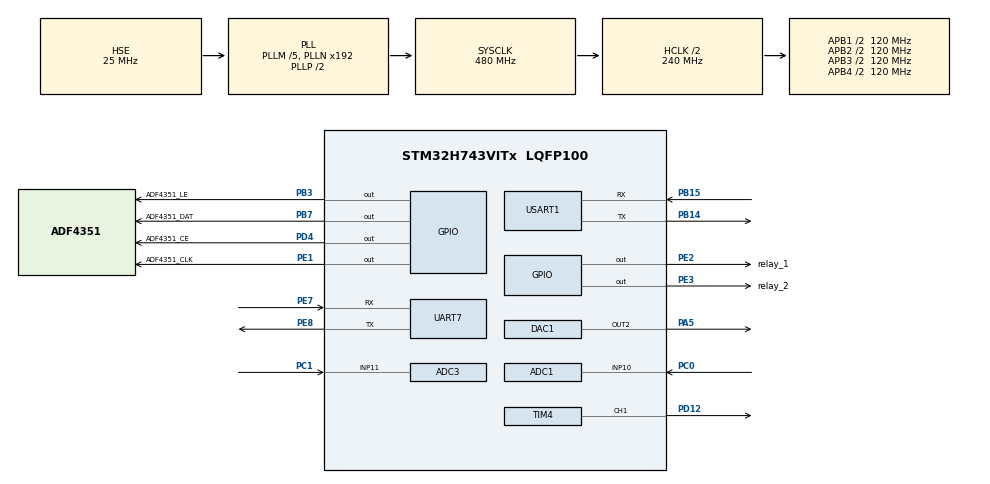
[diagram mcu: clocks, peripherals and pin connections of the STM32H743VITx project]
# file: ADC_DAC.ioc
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ADC1.Channel-1\#ChannelRegularConversion=ADC_CHANNEL_10
ADC1.ClockPrescaler=ADC_CLOCK_ASYNC_DIV1
ADC1.ConversionDataManagement=ADC_CONVERSIONDATA_DMA_CIRCULAR
ADC1.ExternalTrigConv=ADC_EXTERNALTRIG_T15_TRGO
ADC1.NbrOfConversion=1
ADC1.NbrOfConversionFlag=1
ADC1.OffsetNumber-1\#ChannelRegularConversion=ADC_OFFSET_NONE
ADC1.OffsetSignedSaturation-1\#ChannelRegularConversion=DISABLE
ADC1.OversamplingMode=ENABLE
ADC1.Rank-1\#ChannelRegularConversion=1
ADC1.Ratio=1024
ADC1.RightBitShift=ADC_RIGHTBITSHIFT_10
ADC1.SamplingTime-1\#ChannelRegularConversion=ADC_SAMPLETIME_810CYCLES_5
ADC1.master=1
ADC3.Channel-0\#ChannelRegularConversion=ADC_CHANNEL_11
ADC3.ConversionDataManagement=ADC_CONVERSIONDATA_DMA_CIRCULAR
ADC3.ExternalTrigConv=ADC_EXTERNALTRIG_T1_TRGO
ADC3.NbrOfConversionFlag=1
ADC3.OffsetNumber-0\#ChannelRegularConversion=ADC_OFFSET_NONE
ADC3.OffsetSignedSaturation-0\#ChannelRegularConversion=DISABLE
ADC3.Rank-0\#ChannelRegularConversion=1
ADC3.SamplingTime-0\#ChannelRegularConversion=ADC_SAMPLETIME_1CYCLE_5
CORTEX_M7.AccessPermission-Cortex_Memory_Protection_Unit_Region0_Settings=MPU_REGION_FULL_ACCESS
CORTEX_M7.AccessPermission-Cortex_Memory_Protection_Unit_Region1_Settings=MPU_REGION_FULL_ACCESS
CORTEX_M7.AccessPermission-Cortex_Memory_Protection_Unit_Region2_Settings=MPU_REGION_FULL_ACCESS
CORTEX_M7.AccessPermission-Cortex_Memory_Protection_Unit_Region3_Settings=MPU_REGION_FULL_ACCESS
CORTEX_M7.AccessPermission-Cortex_Memory_Protection_Unit_Region4_Settings=MPU_REGION_FULL_ACCESS
CORTEX_M7.AccessPermission_S-Cortex_Memory_Protection_Unit_Region1_Settings_S=MPU_REGION_FULL_ACCESS
CORTEX_M7.AccessPermission_S-Cortex_Memory_Protection_Unit_Region2_Settings_S=MPU_REGION_FULL_ACCESS
CORTEX_M7.AccessPermission_Spec=MPU_REGION_FULL_ACCESS
CORTEX_M7.BaseAddress-Cortex_Memory_Protection_Unit_Region0_Settings=0x24000000
CORTEX_M7.BaseAddress-Cortex_Memory_Protection_Unit_Region1_Settings=0x30000000
CORTEX_M7.BaseAddress-Cortex_Memory_Protection_Unit_Region2_Settings=0x30020000
CORTEX_M7.BaseAddress-Cortex_Memory_Protection_Unit_Region3_Settings=0x30040000
CORTEX_M7.BaseAddress-Cortex_Memory_Protection_Unit_Region4_Settings=0x38000000
CORTEX_M7.BaseAddress_S-Cortex_Memory_Protection_Unit_Region1_Settings_S=0x30000000
CORTEX_M7.BaseAddress_S-Cortex_Memory_Protection_Unit_Region2_Settings_S=0x30020000
CORTEX_M7.BaseAddress_Spec=0x24000000
CORTEX_M7.CPU_DCache=Enabled
CORTEX_M7.CPU_ICache=Enabled
CORTEX_M7.DisableExec_S-Cortex_Memory_Protection_Unit_Region1_Settings_S=MPU_INSTRUCTION_ACCESS_ENABLE
CORTEX_M7.DisableExec_S-Cortex_Memory_Protection_Unit_Region2_Settings_S=MPU_INSTRUCTION_ACCESS_ENABLE
CORTEX_M7.DisableExec_Spec=MPU_INSTRUCTION_ACCESS_ENABLE
CORTEX_M7.Enable-Cortex_Memory_Protection_Unit_Region0_Settings=MPU_REGION_ENABLE
CORTEX_M7.Enable-Cortex_Memory_Protection_Unit_Region1_Settings=MPU_REGION_ENABLE
CORTEX_M7.Enable-Cortex_Memory_Protection_Unit_Region2_Settings=MPU_REGION_ENABLE
CORTEX_M7.Enable-Cortex_Memory_Protection_Unit_Region3_Settings=MPU_REGION_ENABLE
CORTEX_M7.Enable-Cortex_Memory_Protection_Unit_Region4_Settings=MPU_REGION_ENABLE
CORTEX_M7.Enable_S-Cortex_Memory_Protection_Unit_Region1_Settings_S=MPU_REGION_ENABLE
CORTEX_M7.Enable_S-Cortex_Memory_Protection_Unit_Region2_Settings_S=MPU_REGION_ENABLE
CORTEX_M7.IsBufferable-Cortex_Memory_Protection_Unit_Region0_Settings=MPU_ACCESS_NOT_BUFFERABLE
CORTEX_M7.IsBufferable_S-Cortex_Memory_Protection_Unit_Region1_Settings_S=MPU_ACCESS_NOT_BUFFERABLE
CORTEX_M7.IsBufferable_Spec=MPU_ACCESS_BUFFERABLE
CORTEX_M7.IsCacheable-Cortex_Memory_Protection_Unit_Region0_Settings=MPU_ACCESS_NOT_CACHEABLE
CORTEX_M7.IsCacheable_S-Cortex_Memory_Protection_Unit_Region1_Settings_S=MPU_ACCESS_NOT_CACHEABLE
CORTEX_M7.IsCacheable_Spec=MPU_ACCESS_CACHEABLE
CORTEX_M7.IsShareable_Spec=MPU_ACCESS_NOT_SHAREABLE
CORTEX_M7.MPU_Control=MPU_PRIVILEGED_DEFAULT
CORTEX_M7.Size-Cortex_Memory_Protection_Unit_Region0_Settings=MPU_REGION_SIZE_512KB
CORTEX_M7.Size-Cortex_Memory_Protection_Unit_Region1_Settings=MPU_REGION_SIZE_128KB
CORTEX_M7.Size-Cortex_Memory_Protection_Unit_Region2_Settings=MPU_REGION_SIZE_128KB
CORTEX_M7.Size-Cortex_Memory_Protection_Unit_Region3_Settings=MPU_REGION_SIZE_32KB
CORTEX_M7.Size-Cortex_Memory_Protection_Unit_Region4_Settings=MPU_REGION_SIZE_64KB
CORTEX_M7.Size_S-Cortex_Memory_Protection_Unit_Region1_Settings_S=MPU_REGION_SIZE_128KB
CORTEX_M7.Size_S-Cortex_Memory_Protection_Unit_Region2_Settings_S=MPU_REGION_SIZE_128KB
CORTEX_M7.Size_Spec=MPU_REGION_SIZE_512KB
CORTEX_M7.SubRegionDisable_Spec=0x0
CORTEX_M7.TypeExtField-Cortex_Memory_Protection_Unit_Region0_Settings=MPU_TEX_LEVEL1
CORTEX_M7.TypeExtField-Cortex_Memory_Protection_Unit_Region1_Settings=MPU_TEX_LEVEL1
CORTEX_M7.TypeExtField-Cortex_Memory_Protection_Unit_Region2_Settings=MPU_TEX_LEVEL1
CORTEX_M7.TypeExtField-Cortex_Memory_Protection_Unit_Region3_Settings=MPU_TEX_LEVEL1
CORTEX_M7.TypeExtField-Cortex_Memory_Protection_Unit_Region4_Settings=MPU_TEX_LEVEL1
CORTEX_M7.TypeExtField_S-Cortex_Memory_Protection_Unit_Region1_Settings_S=MPU_TEX_LEVEL1
CORTEX_M7.TypeExtField_S-Cortex_Memory_Protection_Unit_Region2_Settings_S=MPU_TEX_LEVEL1
CORTEX_M7.TypeExtField_Spec=MPU_TEX_LEVEL1
DAC1.DAC2_OutputBuffer-DAC_OUT2=DAC_OUTPUTBUFFER_DISABLE
DAC1.DAC_Channel-DAC_OUT2=DAC_CHANNEL_2
DAC1.DAC_Trigger-DAC_OUT2=DAC_TRIGGER_T6_TRGO
Dma.ADC1.0.Direction=DMA_PERIPH_TO_MEMORY
Dma.ADC1.0.EventEnable=DISABLE
Dma.ADC1.0.FIFOMode=DMA_FIFOMODE_DISABLE
Dma.ADC1.0.Instance=DMA1_Stream1
Dma.ADC1.0.MemDataAlignment=DMA_MDATAALIGN_HALFWORD
Dma.ADC1.0.MemInc=DMA_MINC_ENABLE
Dma.ADC1.0.Mode=DMA_NORMAL
Dma.ADC1.0.PeriphDataAlignment=DMA_PDATAALIGN_HALFWORD
Dma.ADC1.0.PeriphInc=DMA_PINC_DISABLE
Dma.ADC1.0.Polarity=HAL_DMAMUX_REQ_GEN_RISING
Dma.ADC1.0.Priority=DMA_PRIORITY_HIGH
Dma.ADC1.0.RequestNumber=1
Dma.ADC1.0.SignalID=NONE
Dma.ADC1.0.SyncEnable=DISABLE
Dma.ADC1.0.SyncPolarity=HAL_DMAMUX_SYNC_NO_EVENT
Dma.ADC1.0.SyncRequestNumber=1
Dma.ADC1.0.SyncSignalID=NONE
Dma.ADC3.1.Direction=DMA_PERIPH_TO_MEMORY
Dma.ADC3.1.EventEnable=DISABLE
Dma.ADC3.1.FIFOMode=DMA_FIFOMODE_DISABLE
Dma.ADC3.1.Instance=DMA2_Stream1
Dma.ADC3.1.MemDataAlignment=DMA_MDATAALIGN_HALFWORD
Dma.ADC3.1.MemInc=DMA_MINC_ENABLE
Dma.ADC3.1.Mode=DMA_NORMAL
Dma.ADC3.1.PeriphDataAlignment=DMA_PDATAALIGN_HALFWORD
Dma.ADC3.1.PeriphInc=DMA_PINC_DISABLE
Dma.ADC3.1.Polarity=HAL_DMAMUX_REQ_GEN_RISING
Dma.ADC3.1.Priority=DMA_PRIORITY_HIGH
Dma.ADC3.1.RequestNumber=1
Dma.ADC3.1.SignalID=NONE
Dma.ADC3.1.SyncEnable=DISABLE
Dma.ADC3.1.SyncPolarity=HAL_DMAMUX_SYNC_NO_EVENT
Dma.ADC3.1.SyncRequestNumber=1
Dma.ADC3.1.SyncSignalID=NONE
Dma.DAC1_CH2.2.Direction=DMA_MEMORY_TO_PERIPH
Dma.DAC1_CH2.2.EventEnable=DISABLE
Dma.DAC1_CH2.2.FIFOMode=DMA_FIFOMODE_DISABLE
Dma.DAC1_CH2.2.Instance=DMA2_Stream0
Dma.DAC1_CH2.2.MemDataAlignment=DMA_MDATAALIGN_HALFWORD
Dma.DAC1_CH2.2.MemInc=DMA_MINC_ENABLE
Dma.DAC1_CH2.2.Mode=DMA_CIRCULAR
Dma.DAC1_CH2.2.PeriphDataAlignment=DMA_PDATAALIGN_HALFWORD
Dma.DAC1_CH2.2.PeriphInc=DMA_PINC_DISABLE
Dma.DAC1_CH2.2.Polarity=HAL_DMAMUX_REQ_GEN_RISING
Dma.DAC1_CH2.2.Priority=DMA_PRIORITY_VERY_HIGH
Dma.DAC1_CH2.2.RequestNumber=1
Dma.DAC1_CH2.2.SignalID=NONE
Dma.DAC1_CH2.2.SyncEnable=DISABLE
Dma.DAC1_CH2.2.SyncPolarity=HAL_DMAMUX_SYNC_NO_EVENT
Dma.DAC1_CH2.2.SyncRequestNumber=1
Dma.DAC1_CH2.2.SyncSignalID=NONE
Dma.Request0=ADC1
Dma.Request1=ADC3
Dma.Request2=DAC1_CH2
Mcu.Family=STM32H7
Mcu.Name=STM32H743VITx
Mcu.Package=LQFP100
NVIC.DMA1_Stream1_IRQn=true\:0\:0\:false\:false\:true\:false\:true\:true
NVIC.DMA2_Stream0_IRQn=true\:0\:0\:false\:false\:true\:false\:true\:true
NVIC.DMA2_Stream1_IRQn=true\:0\:0\:false\:false\:true\:false\:true\:true
NVIC.PriorityGroup=NVIC_PRIORITYGROUP_4
NVIC.TIM3_IRQn=true\:0\:0\:false\:false\:true\:true\:true\:true
NVIC.TIM4_IRQn=true\:0\:0\:false\:false\:true\:true\:true\:true
NVIC.UART7_IRQn=true\:0\:0\:false\:false\:true\:true\:true\:true
PA13\ (JTMS/SWDIO).Mode=Serial_Wire
PA13\ (JTMS/SWDIO).Signal=DEBUG_JTMS-SWDIO
PA14\ (JTCK/SWCLK).Mode=Serial_Wire
PA14\ (JTCK/SWCLK).Signal=DEBUG_JTCK-SWCLK
PA5.Signal=COMP_DAC12_group
PB14.Mode=Asynchronous
PB14.Signal=USART1_TX
PB15.Mode=Asynchronous
PB15.Signal=USART1_RX
PB3\ (JTDO/TRACESWO).GPIO_Label=ADF4351_LE
PB3\ (JTDO/TRACESWO).GPIO_PuPd=GPIO_PULLUP
PB3\ (JTDO/TRACESWO).GPIO_Speed=GPIO_SPEED_FREQ_VERY_HIGH
PB3\ (JTDO/TRACESWO).PinState=GPIO_PIN_SET
PB3\ (JTDO/TRACESWO).Signal=GPIO_Output
PB7.GPIO_Label=ADF4351_DAT
PB7.GPIO_PuPd=GPIO_PULLUP
PB7.GPIO_Speed=GPIO_SPEED_FREQ_VERY_HIGH
PB7.PinState=GPIO_PIN_SET
PB7.Signal=GPIO_Output
PC0.Signal=ADCx_INP10
PC1.Signal=ADCx_INP11
PD12.Signal=S_TIM4_CH1
PD4.GPIO_Label=ADF4351_CE
PD4.GPIO_PuPd=GPIO_PULLUP
PD4.GPIO_Speed=GPIO_SPEED_FREQ_VERY_HIGH
PD4.PinState=GPIO_PIN_SET
PD4.Signal=GPIO_Output
PE1.GPIO_Label=ADF4351_CLK
PE1.GPIO_PuPd=GPIO_PULLUP
PE1.GPIO_Speed=GPIO_SPEED_FREQ_VERY_HIGH
PE1.PinState=GPIO_PIN_SET
PE1.Signal=GPIO_Output
PE2.GPIO_Label=relay_1
PE2.GPIO_PuPd=GPIO_PULLDOWN
PE2.GPIO_Speed=GPIO_SPEED_FREQ_VERY_HIGH
PE2.PinState=GPIO_PIN_RESET
PE2.Signal=GPIO_Output
PE3.GPIO_Label=relay_2
PE3.GPIO_PuPd=GPIO_PULLDOWN
PE3.GPIO_Speed=GPIO_SPEED_FREQ_VERY_HIGH
PE3.Signal=GPIO_Output
PE7.Mode=Asynchronous
PE7.Signal=UART7_RX
PE8.Mode=Asynchronous
PE8.Signal=UART7_TX
PH0-OSC_IN\ (PH0).Mode=HSE-External-Oscillator
PH0-OSC_IN\ (PH0).Signal=RCC_OSC_IN
PH1-OSC_OUT\ (PH1).Mode=HSE-External-Oscillator
PH1-OSC_OUT\ (PH1).Signal=RCC_OSC_OUT
ProjectManager.HeapSize=0x200
ProjectManager.StackSize=0x7400
ProjectManager.TargetToolchain=MDK-ARM V5.32
RCC.ADCFreq_Value=72000000
RCC.APB1Freq_Value=120000000
RCC.APB2Freq_Value=120000000
RCC.APB3Freq_Value=120000000
RCC.APB4Freq_Value=120000000
RCC.CortexFreq_Value=480000000
RCC.D1PPRE=RCC_APB3_DIV2
RCC.D2PPRE1=RCC_APB1_DIV2
RCC.D2PPRE2=RCC_APB2_DIV2
RCC.D3PPRE=RCC_APB4_DIV2
RCC.DIVM1=5
RCC.DIVM2=25
RCC.DIVN1=192
RCC.DIVN2=360
RCC.DIVP2=5
RCC.HCLKFreq_Value=240000000
RCC.HPRE=RCC_HCLK_DIV2
RCC.HSE_Timout=5000
RCC.PLLSourceVirtual=RCC_PLLSOURCE_HSE
RCC.ProductRev=revV
RCC.SYSCLKFreq_VALUE=480000000
RCC.SYSCLKSource=RCC_SYSCLKSOURCE_PLLCLK
RCC.USBFreq_Value=480000000
SH.ADCx_INP10.0=ADC2_INP10
SH.ADCx_INP10.1=ADC1_INP10,IN10-Single-Ended
SH.ADCx_INP11.0=ADC3_INP11,IN11-Single-Ended
SH.COMP_DAC12_group.0=DAC1_OUT2,DAC_OUT2
SH.S_TIM4_CH1.0=TIM4_CH1,PWM Generation1 CH1
TIM1.AutoReloadPreload=TIM_AUTORELOAD_PRELOAD_ENABLE
TIM1.Period=5-1
TIM1.Prescaler=240-1
TIM1.TIM_MasterOutputTrigger=TIM_TRGO_UPDATE
TIM15.AutoReloadPreload=TIM_AUTORELOAD_PRELOAD_ENABLE
TIM15.Period=50-1
TIM15.Prescaler=60-1
TIM15.TIM_MasterOutputTrigger=TIM_TRGO_UPDATE
TIM2.AutoReloadPreload=TIM_AUTORELOAD_PRELOAD_ENABLE
TIM2.Period=20-1
TIM2.Prescaler=240-1
TIM3.AutoReloadPreload=TIM_AUTORELOAD_PRELOAD_ENABLE
TIM3.Period=100-1
TIM3.Prescaler=240-1
TIM4.AutoReloadPreload=TIM_AUTORELOAD_PRELOAD_ENABLE
TIM4.Channel-PWM\ Generation1\ CH1=TIM_CHANNEL_1
TIM4.Period=10-1
TIM4.Prescaler=3-1
TIM4.Pulse-PWM\ Generation1\ CH1=5-1
TIM6.AutoReloadPreload=TIM_AUTORELOAD_PRELOAD_ENABLE
TIM6.Period=200-1
TIM6.Prescaler=1200-1
TIM6.TIM_MasterOutputTrigger=TIM_TRGO_UPDATE
TIM7.Prescaler=239
UART7.RXFIFOThreshold=RXFIFO_THRESHOLD_1EIGHTHFULL
UART7.TXFIFOThreshold=TXFIFO_THRESHOLD_1EIGHTHFULL
USART1.VirtualMode-Asynchronous=VM_ASYNC
VP_TIM15_VS_ClockSourceINT.Mode=Internal
VP_TIM1_VS_ClockSourceINT.Mode=Internal
VP_TIM2_VS_ClockSourceINT.Mode=Internal
VP_TIM3_VS_ClockSourceINT.Mode=Internal
VP_TIM4_VS_ClockSourceINT.Mode=Internal
VP_TIM6_VS_ClockSourceINT.Mode=Enable_Timer
VP_TIM7_VS_ClockSourceINT.Mode=Enable_Timer
board=custom

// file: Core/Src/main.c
/* USER CODE BEGIN Header */
/**
  ******************************************************************************
  * @file           : main.c
  * @brief          : Main program body
  ******************************************************************************
  * @attention
  *
  * Copyright (c) 2022 STMicroelectronics.
  * All rights reserved.
  *
  * This software is licensed under terms that can be found in the LICENSE file
  * in the root directory of this software component.
  * If no LICENSE file comes with this software, it is provided AS-IS.
  *
  ******************************************************************************
  */
/* USER CODE END Header */
#include "main.h"
#include "adc.h"
#include "dac.h"
#include "dma.h"
#include "tim.h"
#include "usart.h"
#include "gpio.h"

/* USER CODE BEGIN Includes */
int length_flag = 0;
int load_flag = 0;
char screen_message[30] = {0};
uint32_t frequency = 25000000;
/* USER CODE END Includes */

/* USER CODE BEGIN PTD */
ALIGN_32BYTES (uint16_t adc1_data[10000])  __attribute__((section(".ARM.__at_0x30020000")));
ALIGN_32BYTES (uint16_t adc3_data[2000]) 	__attribute__((section(".ARM.__at_0x30000000")));

//存放单个频点100次测量的结果
float M_single[100] = {0};
//临时存放，用于数据的排序
float comp[100] = {0};
//表示adc采集完成__at_0x24000000
__IO uint8_t AdcConvEnd = 0;
//全局临时变量，用于各种for循环
uint32_t x_tmp = 0;
uint32_t y_tmp = 0;
uint32_t z_tmp = 0;
//标志位，表示初始化设计分段相关的数据
uint32_t check_K_flag = 0;

float voltage_load1[16] = {0};
float voltage_load2[16] = {0};
float voltage_load3[16] = {0};
//用于存放dac输出的值
uint16_t Dat[20]={0};
//////////////////////////////////////////////////////
//以下数据用于在判断完成线长的范围后进行具体线长的测量
//////////////////////////////////////////////////////
//三个测量区间的相位检测起始频率
float M10_fre_start = 6500000;//7M
float M14_fre_start = 4500000;//7.5M
float M18_fre_start = 3500000;//6M

//存放初始化过程中测量得到的四个长度下的值
float M10_START[10] = {138,137,136,135,134,133,132,131,130,129};
float M14_START[10] = {139,139,138,138,137,137,136,136,136,135};
float M18_START[10] = {138,138,137,136,136,135,134,134,133,132};
float M10_END[10] = {45,44,43,41,40,39,38,37,35,34};
float M14_END[10] = {72,70,68,67,65,63,61,58,57,55};
float M18_END[10] = {110,108,104,103,101,99,97,95,93,91};
//存放三个测量区间的数据的斜率
float M10_K[10] = {0.232500,0.232500, 0.232500, 0.232500, 0.235000, 0.235000, 0.235000, 0.235000, 0.237500, 0.235000};
float M14_K[10] = {0.165, 0.1675, 0.172500, 0.175000, 0.177500, 0.180000, 0.185000, 0.187500, 0.190000, 0.192500};
float M18_K[10] = {0.14, 0.145000, 0.160000, 0.165000, 0.170000, 0.175000, 0.185000, 0.190000, 0.195000, 0.205000};

//存放测量得到的10个相位值
float MUnknown[10] = {0};

//存放测量得到的线的长度
float Mlength = 0;

////////////////////////////////////////////////////////////
//以下数据用于判断线长属于哪个范围已进行后续的较为准确的测量
////////////////////////////////////////////////////////////
//存放在1M-2M测量的10个点的相位值
float M1_length[10] = {0};
//1M-2M测量的数据的对应频率值
float M1_fre[10] = {0};
//存放在1M-2M范围内经过校准后得到的斜率值，该值将是后续判断的基础
float M1_1M  = 1;
float M1_10M = 54.908886;
float M1_14M = 83.030113;
float M1_18M = 112.363220;
float M1_20M = 135.332840;
//存放在1M-2M范围内最终得到的斜率
float M1_Unknown = 0;
//标志位，用于标识属于得到的测量结果属于哪个测量范围
uint32_t scale_flag = 0;

void adc_saopin(void)
{
	MX_ADC1_Init();	//初始化调用放这里, 确保在MX_DMA_Init()初始化后面
	Delay_Us(100);	//有地方说这里可以等等电压稳定后再校准

	if (HAL_ADCEx_Calibration_Start(&hadc1, ADC_CALIB_OFFSET, ADC_SINGLE_ENDED) != HAL_OK)
	{
			printf("hadc1 error with HAL_ADCEx_Calibration_Start\r\n");
			Error_Handler();
	}

	if (HAL_ADC_Start_DMA(&hadc1, (uint32_t *)adc1_data, 16) != HAL_OK)
	{
			printf("hadc1 error with HAL_ADC_Start_DMA\r\n");
			Error_Handler();
	}

	HAL_TIM_Base_Start(&htim15);
	while (!AdcConvEnd);
	AdcConvEnd = 0;
	HAL_ADC_DeInit(&hadc1);
}
void SineWave()
{
    uint16_t i;
    for( i=0;i<20;i++)
    {
  		Dat[i]=2048;
    }
}

float get1256(void)
{
	float get_data = 0;
	get_data = ADS1256GetVolt(ADS1256_MUXP_AIN0,ADS1256_MUXN_AINCOM,ADS1256_GAIN_1);
	return get_data;
}

/* USER CODE END PTD */

void SystemClock_Config(void);
void PeriphCommonClock_Config(void);
static void MPU_Config(void);

int main(void)
{
  /* USER CODE BEGIN 1 */
	//系统初始化代码
//	{
  /* USER CODE END 1 */

  /* MPU Configuration--------------------------------------------------------*/
  MPU_Config();

  /* Enable I-Cache---------------------------------------------------------*/
  SCB_EnableICache();

  /* Enable D-Cache---------------------------------------------------------*/
  SCB_EnableDCache();

  /* MCU Configuration--------------------------------------------------------*/

  /* Reset of all peripherals, Initializes the Flash interface and the Systick. */
  HAL_Init();

  /* USER CODE BEGIN Init */
	uint32_t saopin = 0;
  /* USER CODE END Init */

  /* Configure the system clock */
  SystemClock_Config();

/* Configure the peripherals common clocks */
  PeriphCommonClock_Config();

  /* Initialize all configured peripherals */
  MX_GPIO_Init();
  MX_DMA_Init();
  MX_TIM7_Init();
  MX_TIM6_Init();
  MX_ADC1_Init();
  MX_USART1_UART_Init();
  MX_ADC3_Init();
  MX_TIM15_Init();
  MX_TIM1_Init();
  MX_UART7_Init();
  MX_TIM2_Init();
  MX_TIM3_Init();
  MX_TIM4_Init();
  MX_DAC1_Init();
  /* USER CODE BEGIN 2 */
	HAL_TIM_PWM_Start(&htim4,TIM_CHANNEL_1);  //开启PWM通道1
	SineWave();//生成正弦数据
	HAL_DAC_Start_DMA(&hdac1,DAC_CHANNEL_2,(uint32_t *)Dat,20,DAC_ALIGN_12B_R);//开启DMA-DAC
	HAL_TIM_Base_Start(&htim6);//打开定时器6
	double data = 0;
	Init_ad9910();
	Write_Amplitude(100);
	Freq_convert(20000000);
	float adata = 0;
	ADF4351Init();
	ADF4351WriteFreq(200);	//设置固定输出频率为400MHZ
	ADS1256_Init(ADS1256_GAIN_1,ADS1256_DRATE_2000SPS);
	workstate(0);
	while(1)
	{
		if(length_flag == 1)
		{
			workstate(1);
			length_flag = 0;
			M1_Unknown = length_scope();
			scope_judge();
			cal_length();
			printf("%d\r\n",scale_flag);
			show_length(Mlength);
			workstate(0);
		}
		if(load_flag == 1)
		{
			workstate(1);
			load_flag = 0;

			workstate(0);
		}
		if(check_K_flag == 10)
		{
			workstate(1);
			M1_10M = length_scope();
			calibration_show(M1_10M);
//			printf("%f\r\n\r\n",M1_10M);
			get_K();
			workstate(0);
			check_K_flag = 0;
		}
		else if(check_K_flag == 14)
		{
			workstate(1);
			M1_14M = length_scope();
//			printf("%f\r\n\r\n",M1_14M);
			calibration_show(M1_14M);
			get_K();
			workstate(0);
			check_K_flag = 0;
		}
		else if(check_K_flag == 18)
		{
			workstate(1);
			M1_18M = length_scope();
//			printf("%f\r\n\r\n",M1_18M);
			calibration_show(M1_18M);
			get_K();
			workstate(0);
			check_K_flag = 0;
		}
		else if(check_K_flag == 20)
		{
			workstate(1);
			M1_20M = length_scope();
//			printf("%f\r\n\r\n",M1_20M);
			calibration_show(M1_20M);
			get_K();
			workstate(0);
			check_K_flag = 0;
		}
		else if(check_K_flag == 101)
		{
			workstate(1);
			M1_1M = length_scope();
//			printf("%f\r\n\r\n",M1_1M);
			calibration_show(M1_1M);
			workstate(0);
			check_K_flag = 0;
		}
		else if(check_K_flag == 24)
		{
			workstate(1);
			printf("\r\n");
			get_K();
			workstate(0);
			check_K_flag = 0;
			for(x_tmp = 0;x_tmp<10;x_tmp++)
			{
				printf("M10_K= %f\r\n\r\n",M10_K[x_tmp]);
			}
			for(x_tmp = 0;x_tmp<10;x_tmp++)
			{
				printf("M14_K= %f\r\n\r\n",M14_K[x_tmp]);
			}
			for(x_tmp = 0;x_tmp<10;x_tmp++)
			{
				printf("M18_K= %f\r\n\r\n",M18_K[x_tmp]);
			}
		}
	}

  /* USER CODE END 2 */

  /* Infinite loop */
  /* USER CODE BEGIN WHILE */
	adc_saopin();
	for (u16 temp = 0; temp< 16;temp++)
	{
		adata = (float)(adc1_data[temp])/65536*3300;
		printf("%f\r\n", adata);
	}

  while (1)
  {

    /* USER CODE END WHILE */

  }
}

void SystemClock_Config(void)
{
  RCC_OscInitTypeDef RCC_OscInitStruct = {0};
  RCC_ClkInitTypeDef RCC_ClkInitStruct = {0};

  /** Supply configuration update enable
  */
  HAL_PWREx_ConfigSupply(PWR_LDO_SUPPLY);

  /** Configure the main internal regulator output voltage
  */
  __HAL_PWR_VOLTAGESCALING_CONFIG(PWR_REGULATOR_VOLTAGE_SCALE1);

  while(!__HAL_PWR_GET_FLAG(PWR_FLAG_VOSRDY)) {}

  __HAL_RCC_SYSCFG_CLK_ENABLE();
  __HAL_PWR_VOLTAGESCALING_CONFIG(PWR_REGULATOR_VOLTAGE_SCALE0);

  while(!__HAL_PWR_GET_FLAG(PWR_FLAG_VOSRDY)) {}

  /** Initializes the RCC Oscillators according to the specified parameters
  * in the RCC_OscInitTypeDef structure.
  */
  RCC_OscInitStruct.OscillatorType = RCC_OSCILLATORTYPE_HSE;
  RCC_OscInitStruct.HSEState = RCC_HSE_ON;
  RCC_OscInitStruct.PLL.PLLState = RCC_PLL_ON;
  RCC_OscInitStruct.PLL.PLLSource = RCC_PLLSOURCE_HSE;
  RCC_OscInitStruct.PLL.PLLM = 5;
  RCC_OscInitStruct.PLL.PLLN = 192;
  RCC_OscInitStruct.PLL.PLLP = 2;
  RCC_OscInitStruct.PLL.PLLQ = 2;
  RCC_OscInitStruct.PLL.PLLR = 2;
  RCC_OscInitStruct.PLL.PLLRGE = RCC_PLL1VCIRANGE_2;
  RCC_OscInitStruct.PLL.PLLVCOSEL = RCC_PLL1VCOWIDE;
  RCC_OscInitStruct.PLL.PLLFRACN = 0;
  if (HAL_RCC_OscConfig(&RCC_OscInitStruct) != HAL_OK)
  {
    Error_Handler();
  }

  /** Initializes the CPU, AHB and APB buses clocks
  */
  RCC_ClkInitStruct.ClockType = RCC_CLOCKTYPE_HCLK|RCC_CLOCKTYPE_SYSCLK
                              |RCC_CLOCKTYPE_PCLK1|RCC_CLOCKTYPE_PCLK2
                              |RCC_CLOCKTYPE_D3PCLK1|RCC_CLOCKTYPE_D1PCLK1;
  RCC_ClkInitStruct.SYSCLKSource = RCC_SYSCLKSOURCE_PLLCLK;
  RCC_ClkInitStruct.SYSCLKDivider = RCC_SYSCLK_DIV1;
  RCC_ClkInitStruct.AHBCLKDivider = RCC_HCLK_DIV2;
  RCC_ClkInitStruct.APB3CLKDivider = RCC_APB3_DIV2;
  RCC_ClkInitStruct.APB1CLKDivider = RCC_APB1_DIV2;
  RCC_ClkInitStruct.APB2CLKDivider = RCC_APB2_DIV2;
  RCC_ClkInitStruct.APB4CLKDivider = RCC_APB4_DIV2;

  if (HAL_RCC_ClockConfig(&RCC_ClkInitStruct, FLASH_LATENCY_4) != HAL_OK)
  {
    Error_Handler();
  }
}

void PeriphCommonClock_Config(void)
{
  RCC_PeriphCLKInitTypeDef PeriphClkInitStruct = {0};

  /** Initializes the peripherals clock
  */
  PeriphClkInitStruct.PeriphClockSelection = RCC_PERIPHCLK_ADC;
  PeriphClkInitStruct.PLL2.PLL2M = 25;
  PeriphClkInitStruct.PLL2.PLL2N = 360;
  PeriphClkInitStruct.PLL2.PLL2P = 5;
  PeriphClkInitStruct.PLL2.PLL2Q = 2;
  PeriphClkInitStruct.PLL2.PLL2R = 2;
  PeriphClkInitStruct.PLL2.PLL2RGE = RCC_PLL2VCIRANGE_0;
  PeriphClkInitStruct.PLL2.PLL2VCOSEL = RCC_PLL2VCOWIDE;
  PeriphClkInitStruct.PLL2.PLL2FRACN = 0;
  PeriphClkInitStruct.AdcClockSelection = RCC_ADCCLKSOURCE_PLL2;
  if (HAL_RCCEx_PeriphCLKConfig(&PeriphClkInitStruct) != HAL_OK)
  {
    Error_Handler();
  }
}

/* USER CODE BEGIN 4 */
void HAL_ADC_ConvCpltCallback(ADC_HandleTypeDef* hadc)
{
   if(hadc->Instance == ADC1)
	{
      //SCB_InvalidateDCache_by_Addr((uint32_t *) &adc1_data[0], ADC1_BUFFER_SIZE);
   }
	 AdcConvEnd = 1;
}

/* USER CODE END 4 */

/* MPU Configuration */

void MPU_Config(void)
{
  MPU_Region_InitTypeDef MPU_InitStruct = {0};

  /* Disables the MPU */
  HAL_MPU_Disable();

  /** Initializes and configures the Region and the memory to be protected
  */
  MPU_InitStruct.Enable = MPU_REGION_ENABLE;
  MPU_InitStruct.Number = MPU_REGION_NUMBER0;
  MPU_InitStruct.BaseAddress = 0x24000000;
  MPU_InitStruct.Size = MPU_REGION_SIZE_512KB;
  MPU_InitStruct.SubRegionDisable = 0x0;
  MPU_InitStruct.TypeExtField = MPU_TEX_LEVEL1;
  MPU_InitStruct.AccessPermission = MPU_REGION_FULL_ACCESS;
  MPU_InitStruct.DisableExec = MPU_INSTRUCTION_ACCESS_ENABLE;
  MPU_InitStruct.IsShareable = MPU_ACCESS_NOT_SHAREABLE;
  MPU_InitStruct.IsCacheable = MPU_ACCESS_NOT_CACHEABLE;
  MPU_InitStruct.IsBufferable = MPU_ACCESS_NOT_BUFFERABLE;

  HAL_MPU_ConfigRegion(&MPU_InitStruct);

  /** Initializes and configures the Region and the memory to be protected
  */
  MPU_InitStruct.Number = MPU_REGION_NUMBER1;
  MPU_InitStruct.BaseAddress = 0x30000000;
  MPU_InitStruct.Size = MPU_REGION_SIZE_128KB;

  HAL_MPU_ConfigRegion(&MPU_InitStruct);

  /** Initializes and configures the Region and the memory to be protected
  */
  MPU_InitStruct.Number = MPU_REGION_NUMBER2;
  MPU_InitStruct.BaseAddress = 0x30020000;

  HAL_MPU_ConfigRegion(&MPU_InitStruct);

  /** Initializes and configures the Region and the memory to be protected
  */
  MPU_InitStruct.Number = MPU_REGION_NUMBER3;
  MPU_InitStruct.BaseAddress = 0x30040000;
  MPU_InitStruct.Size = MPU_REGION_SIZE_32KB;

  HAL_MPU_ConfigRegion(&MPU_InitStruct);

  /** Initializes and configures the Region and the memory to be protected
  */
  MPU_InitStruct.Number = MPU_REGION_NUMBER4;
  MPU_InitStruct.BaseAddress = 0x38000000;
  MPU_InitStruct.Size = MPU_REGION_SIZE_64KB;

  HAL_MPU_ConfigRegion(&MPU_InitStruct);
  /* Enables the MPU */
  HAL_MPU_Enable(MPU_PRIVILEGED_DEFAULT);

}

void Error_Handler(void)
{
  __disable_irq();
  while (1)
  {
  }
}
